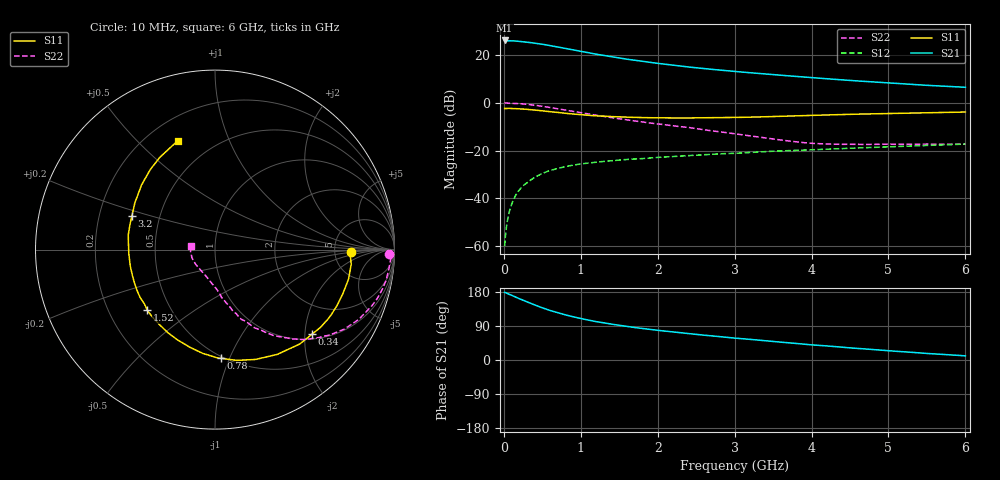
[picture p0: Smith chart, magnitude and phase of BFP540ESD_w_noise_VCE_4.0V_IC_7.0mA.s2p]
! Infineon Technologies  Discrete & RF Semiconductors
! BFP540ESD
! VCE =  4.0 V,  IC =  7.0 mA
! Common Emitter S-Parameters:  Nov 2015
# GHz  S  MA  R  50
!  f  S11  S21  S12  S22
! GHz  MAG  ANG  MAG  ANG  MAG  ANG  MAG  ANG
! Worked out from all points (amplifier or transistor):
!   210 points, 10 MHz to 6 GHz, reference 50 ohm
!   highest |S21| = 26.1 dB at 10 MHz (marker M1)
!   |S21| within 3 dB of that: start of sweep to 744.3 MHz
!   unconditionally stable (mu >= 1): start of sweep to 11.02 MHz; 3 GHz to end of sweep
!   at 185 MHz: K = 0.12, MSG = 31.5 dB, |S12| = -37.2 dB
!   at 1.52 GHz: K = 0.60, MSG = 21.3 dB, |S12| = -23.9 dB
!   at 6 GHz: K = 1.18, MAG = 9.3 dB, |S12| = -17.3 dB
!   lowest NFmin = 0.76 dB at 900 MHz
!   S11 on the Smith chart (normalised r, x): 10 MHz: 7.25, -0.45; 340 MHz: 1.12, -2.18; 780 MHz: 0.49, -0.93; 1.52 GHz: 0.37, -0.33; 3.2 GHz: 0.35, +0.17; 6 GHz: 0.32, +0.66
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0.01  0.7585 -1.0  20.1 178.4  0.001 46.4  0.9705 -1.3
0.02  0.7548 -2.7  19.8 178.0  0.0016 82.5  0.9948 -1.4
0.055  0.7627 -6.7  19.83 174.7  0.0041 77.8  0.9791 -3.6
0.15  0.7543 -18.6  19.58 166.4  0.0113 78.0  0.9688 -10.1
0.28  0.7335 -34.2  18.72 155.1  0.02 73.2  0.9345 -18.5
0.34  0.7171 -41.1  18.2 150.3  0.0236 70.4  0.9117 -22.2
0.4  0.7069 -48.1  17.7 145.3  0.0275 68.5  0.8905 -25.9
0.5  0.6791 -59.3  16.79 137.7  0.0333 64.5  0.8458 -31.6
0.6  0.6525 -69.7  15.68 130.7  0.0384 59.9  0.7978 -36.5
0.78  0.6069 -86.8  13.88 120.2  0.0454 54.3  0.7129 -44.5
0.9  0.582 -96.8  12.74 113.9  0.0496 52.0  0.6609 -48.9
1.02  0.5576 -106.0  11.71 108.6  0.053 49.3  0.6122 -52.7
1.2  0.5328 -119.3  10.38 101.3  0.057 45.1  0.5492 -57.9
1.52  0.5052 -138.3  8.537 90.9  0.0637 42.2  0.4579 -65.1
1.7  0.4949 -147.7  7.746 85.7  0.0667 40.3  0.416 -69.2
2.02  0.4828 -162.1  6.614 77.8  0.0721 38.3  0.3586 -73.6
2.58  0.483 176.9  5.225 65.9  0.0811 35.4  0.2742 -81.5
3.1  0.4961 160.8  4.378 56.2  0.0893 33.5  0.2132 -89.2
3.2  0.4995 157.9  4.245 54.5  0.0912 32.8  0.2029 -91.4
4.1  0.5497 136.6  3.265 38.6  0.1052 28.1  0.1391 -125.1
5.1  0.6019 119.6  2.543 23.0  0.121 22.5  0.1357 -162.8
6  0.6396 108.9  2.106 10.9  0.1367 18.0  0.1364 170.9
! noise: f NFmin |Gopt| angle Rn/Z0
0.9  0.76  0.01  -71  0.11
1.8  0.97  0.09  177  0.11
2.4  0.98  0.11  174  0.1
3  1.11  0.19  -171  0.09
4  1.26  0.31  -120  0.15
5  1.48  0.43  -96  0.28
6  1.73  0.52  -98  0.43
